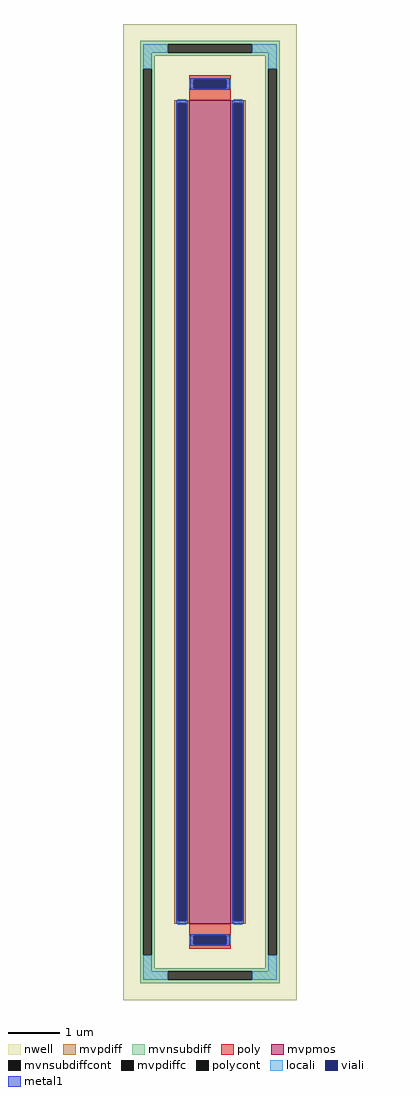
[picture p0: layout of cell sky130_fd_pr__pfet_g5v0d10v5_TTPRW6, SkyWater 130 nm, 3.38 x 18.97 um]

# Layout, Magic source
magic
tech sky130A
magscale 1 2
<< nwell >>
rect -338 -1897 338 1897
<< mvpmos >>
rect -80 -1600 80 1600
<< mvpdiff >>
rect -138 1588 -80 1600
rect -138 -1588 -126 1588
rect -92 -1588 -80 1588
rect -138 -1600 -80 -1588
rect 80 1588 138 1600
rect 80 -1588 92 1588
rect 126 -1588 138 1588
rect 80 -1600 138 -1588
<< mvpdiffc >>
rect -126 -1588 -92 1588
rect 92 -1588 126 1588
<< mvnsubdiff >>
rect -272 1819 272 1831
rect -272 1785 -164 1819
rect 164 1785 272 1819
rect -272 1773 272 1785
rect -272 1723 -214 1773
rect -272 -1723 -260 1723
rect -226 -1723 -214 1723
rect 214 1723 272 1773
rect -272 -1773 -214 -1723
rect 214 -1723 226 1723
rect 260 -1723 272 1723
rect 214 -1773 272 -1723
rect -272 -1785 272 -1773
rect -272 -1819 -164 -1785
rect 164 -1819 272 -1785
rect -272 -1831 272 -1819
<< mvnsubdiffcont >>
rect -164 1785 164 1819
rect -260 -1723 -226 1723
rect 226 -1723 260 1723
rect -164 -1819 164 -1785
<< poly >>
rect -80 1681 80 1697
rect -80 1647 -64 1681
rect 64 1647 80 1681
rect -80 1600 80 1647
rect -80 -1647 80 -1600
rect -80 -1681 -64 -1647
rect 64 -1681 80 -1647
rect -80 -1697 80 -1681
<< polycont >>
rect -64 1647 64 1681
rect -64 -1681 64 -1647
<< locali >>
rect -260 1785 -164 1819
rect 164 1785 260 1819
rect -260 1723 -226 1785
rect 226 1723 260 1785
rect -80 1647 -64 1681
rect 64 1647 80 1681
rect -126 1588 -92 1604
rect -126 -1604 -92 -1588
rect 92 1588 126 1604
rect 92 -1604 126 -1588
rect -80 -1681 -64 -1647
rect 64 -1681 80 -1647
rect -260 -1785 -226 -1723
rect 226 -1785 260 -1723
rect -260 -1819 -164 -1785
rect 164 -1819 260 -1785
<< viali >>
rect -64 1647 64 1681
rect -126 -1588 -92 1588
rect 92 -1588 126 1588
rect -64 -1681 64 -1647
<< metal1 >>
rect -76 1681 76 1687
rect -76 1647 -64 1681
rect 64 1647 76 1681
rect -76 1641 76 1647
rect -132 1588 -86 1600
rect -132 -1588 -126 1588
rect -92 -1588 -86 1588
rect -132 -1600 -86 -1588
rect 86 1588 132 1600
rect 86 -1588 92 1588
rect 126 -1588 132 1588
rect 86 -1600 132 -1588
rect -76 -1647 76 -1641
rect -76 -1681 -64 -1647
rect 64 -1681 76 -1647
rect -76 -1687 76 -1681
<< properties >>
string gencell sky130_fd_pr__pfet_g5v0d10v5
string FIXED_BBOX -243 -1802 243 1802
string parameters w 16 l 0.8 m 1 nf 1 diffcov 100 polycov 100 guard 1 glc 1 grc 1 gtc 1 gbc 1 tbcov 100 rlcov 100 topc 1 botc 1 poverlap 0 doverlap 1 lmin 0.50 wmin 0.42 compatible {sky130_fd_pr__pfet_01v8  sky130_fd_pr__pfet_01v8_lvt sky130_fd_pr__pfet_01v8_hvt  sky130_fd_pr__pfet_g5v0d10v5} full_metal 1 viasrc 100 viadrn 100 viagate 100 viagb 0 viagr 0 viagl 0 viagt 0
string library sky130
<< end >>
